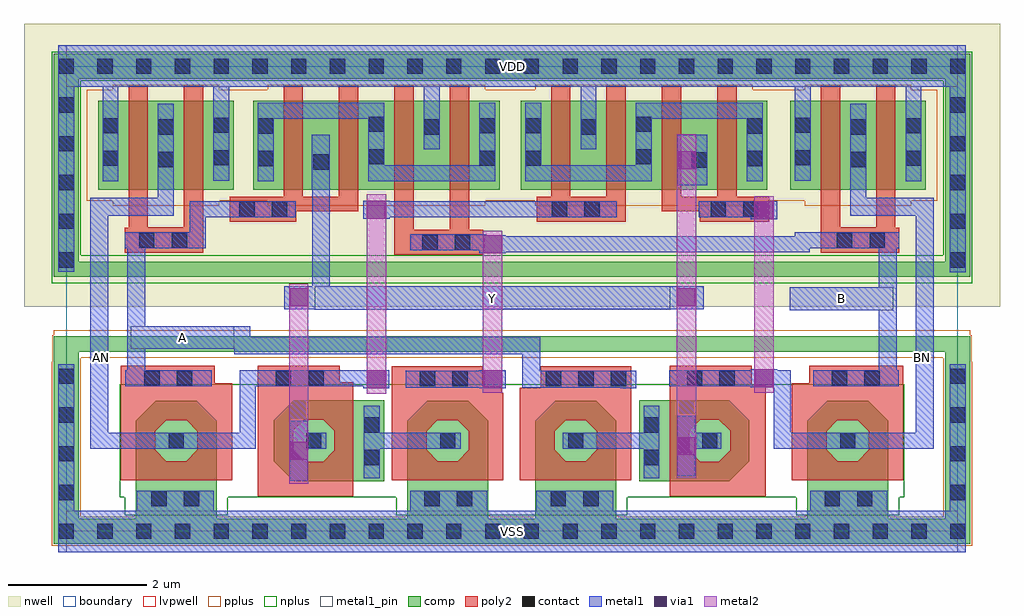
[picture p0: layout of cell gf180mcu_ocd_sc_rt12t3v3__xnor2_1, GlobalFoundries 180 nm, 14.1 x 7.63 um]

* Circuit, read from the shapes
.subckt gf180mcu_ocd_sc_rt12t3v3__xnor2_1 A AN B BN VDD VSS Y
XM1 AN A VSS VSS nfet_03v3 w=1.785u l=0.5305u
XM2 Y AN n1 VSS nfet_03v3 w=1.785u l=0.5347u
XM3 n1 B VSS VSS nfet_03v3 w=1.785u l=0.5395u
XM4 n2 A VSS VSS nfet_03v3 w=1.785u l=0.5325u
XM5 Y BN n2 VSS nfet_03v3 w=1.785u l=0.5341u
XM6 BN B VSS VSS nfet_03v3 w=1.785u l=0.5391u
XM7 AN A VDD VDD pfet_03v3 w=1.285u l=0.28u m=2
XM8 Y A n3 VDD pfet_03v3 w=1.285u l=0.28u m=2
XM9 VDD B n3 VDD pfet_03v3 w=1.285u l=0.28u m=2
XM10 VDD AN n4 VDD pfet_03v3 w=1.285u l=0.28u m=2
XM11 Y BN n4 VDD pfet_03v3 w=1.285u l=0.28u m=2
XM12 BN B VDD VDD pfet_03v3 w=1.285u l=0.28u m=2
.ends

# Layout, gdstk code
import gdstk
lib = gdstk.Library(unit=1e-6, precision=1e-09)
def R(c, l, rs):  # rectangles x0, y0, x1, y1
    for r in rs: c.add(gdstk.rectangle(r[:2], r[2:], *l))
def A(c, l, x, y, w, h, nx, ny, dx, dy):  # array of equal rectangles
    R(c, l, [(x+i*dx, y+j*dy, x+i*dx+w, y+j*dy+h) for i in range(nx) for j in range(ny)])
def P(c, l, *ps):  # polygons
    for p in ps: c.add(gdstk.Polygon(p, *l))
boundary = (0, 0)
nwell = (21, 0)
comp = (22, 0)
poly2 = (30, 0)
pplus = (31, 0)
nplus = (32, 0)
contact = (33, 0)
metal1 = (34, 0)
metal1_pin = (34, 10)
via1 = (35, 0)
metal2 = (36, 0)
lvpwell = (204, 0)

gf180mcu_ocd_sc_rt12t3v3 = lib.new_cell('gf180mcu_ocd_sc_rt12t3v3__xnor2_1')
R(gf180mcu_ocd_sc_rt12t3v3, boundary, [(0,0,12.88,6.72)])
R(gf180mcu_ocd_sc_rt12t3v3, nwell, [(-0.61,3.245,13.49,7.33)])
R(gf180mcu_ocd_sc_rt12t3v3, comp, [(-0.18,-0.18,13.06,0.18), (-0.18,0.18,0.18,2.595), (1.005,0.18,2.175,1.595), (4.925,0.18,6.095,1.595), (6.775,0.18,7.945,1.595), (10.705,0.18,11.875,1.595), (12.7,0.18,13.06,2.595), (3.29,0.725,4.595,1.015), (8.275,0.725,9.58,1.015), (3,1.015,4.595,1.605), (8.275,1.015,9.87,1.605), (1.295,1.595,1.885,1.885), (5.215,1.595,5.805,1.885), (6.785,1.595,7.655,1.605), (10.995,1.595,11.585,1.885), (3.28,1.605,4.595,1.885), (7.065,1.605,7.655,1.885), (8.275,1.605,9.58,1.895), (3.29,1.885,4.595,1.895), (-0.18,2.595,13.06,2.815), (-0.18,3.675,13.06,3.895), (-0.18,3.895,0.18,6.54), (12.7,3.895,13.06,6.54), (0.46,4.935,2.42,6.22), (2.7,4.935,6.26,6.22), (6.565,4.935,10.125,6.22), (10.46,4.935,12.42,6.22), (-0.18,6.54,13.06,6.9)])
P(gf180mcu_ocd_sc_rt12t3v3, comp, [(3.28,1.885),(3.29,1.885),(3.29,1.895)],
  [(1.005,1.595),(1.295,1.595),(1.295,1.885)],
  [(1.885,1.885),(1.885,1.595),(2.175,1.595)],
  [(3,1.605),(3.28,1.605),(3.28,1.885)],
  [(3,1.015),(3.29,1.015),(3.29,0.725)],
  [(4.925,1.595),(5.215,1.595),(5.215,1.885)],
  [(5.805,1.885),(5.805,1.595),(6.095,1.595)],
  [(6.785,1.605),(7.065,1.605),(7.065,1.885)],
  [(6.775,1.595),(6.785,1.595),(6.785,1.605)],
  [(7.655,1.885),(7.655,1.595),(7.945,1.595)],
  [(9.58,1.895),(9.58,1.605),(9.87,1.605)],
  [(9.58,0.725),(9.58,1.015),(9.87,1.015)],
  [(10.705,1.595),(10.995,1.595),(10.995,1.885)],
  [(11.585,1.885),(11.585,1.595),(11.875,1.595)])
A(gf180mcu_ocd_sc_rt12t3v3, poly2, 7.005, 4.835, 0.28, 1.605, 4, 1, 0.8, 0)
R(gf180mcu_ocd_sc_rt12t3v3, poly2, [(2.765,0.505,4.15,1.005), (8.72,0.505,10.105,1.005), (0.785,0.735,2.395,1.015), (4.705,0.735,6.315,1.015), (6.555,0.735,8.165,1.015), (10.485,0.735,12.095,1.015), (2.765,1.005,3.29,1.155), (3.86,1.005,4.15,1.155), (8.72,1.005,9,1.615), (9.58,1.005,10.105,1.155), (0.785,1.015,1.285,1.595), (1.895,1.015,2.395,1.595), (4.705,1.015,5.205,1.595), (5.815,1.015,6.315,1.595), (6.555,1.015,7.055,1.605), (7.665,1.015,8.165,1.595), (10.485,1.015,10.985,1.595), (11.595,1.015,12.095,1.595), (2.765,1.155,3.28,1.465), (3.87,1.155,4.15,1.465), (9.59,1.155,10.105,1.465), (2.765,1.465,3.29,1.615), (3.86,1.465,4.15,1.615), (9.58,1.465,10.105,1.615), (0.785,1.595,1.435,1.605), (1.745,1.595,2.395,1.605), (4.705,1.595,5.355,1.605), (5.665,1.595,6.315,1.605), (7.515,1.595,8.165,1.605), (10.485,1.595,11.135,1.605), (11.445,1.595,12.095,1.605), (0.785,1.605,2.395,2.14), (4.705,1.605,6.315,2), (6.555,1.605,8.165,2.075), (10.485,1.605,12.095,2.14), (2.765,1.615,4.15,2.15), (8.72,1.615,10.105,2.115), (4.705,2,6.285,2.095), (6.855,2.075,8.165,2.385), (4.705,2.095,6.015,2.385), (8.72,2.115,9.905,2.39), (0.785,2.14,2.145,2.39), (10.735,2.14,12.095,2.39), (2.765,2.15,3.95,2.39), (4.74,3.995,6.025,4.355), (0.845,4.025,1.98,4.385), (10.9,4.025,12.035,4.385), (4.74,4.355,5.02,6.44), (5.54,4.355,5.82,6.44), (0.9,4.385,1.98,4.39), (10.9,4.385,11.98,4.39), (0.9,4.39,1.18,6.44), (1.7,4.39,1.98,6.44), (10.9,4.39,11.18,6.44), (11.7,4.39,11.98,6.44), (2.365,4.475,3.325,4.625), (6.8,4.475,8.085,4.835), (9.15,4.475,10.16,4.625), (2.365,4.625,4.22,4.835), (8.605,4.625,10.16,4.835), (3.14,4.835,3.42,6.44), (3.94,4.835,4.22,6.44)])
P(gf180mcu_ocd_sc_rt12t3v3, poly2, [(1.435,1.595),(1.435,1.605),(1.445,1.605)],
  [(1.735,1.605),(1.745,1.605),(1.745,1.595)],
  [(1.285,1.445),(1.285,1.595),(1.435,1.595)],
  [(1.745,1.595),(1.895,1.595),(1.895,1.445)],
  [(1.285,1.175),(1.285,1.015),(1.445,1.015)],
  [(1.735,1.015),(1.895,1.015),(1.895,1.175)],
  [(3.29,1.465),(3.29,1.615),(3.44,1.615)],
  [(3.71,1.615),(3.86,1.615),(3.86,1.465)],
  [(3.28,1.455),(3.28,1.465),(3.29,1.465)],
  [(3.86,1.465),(3.87,1.465),(3.87,1.455)],
  [(3.28,1.165),(3.28,1.155),(3.29,1.155)],
  [(3.86,1.155),(3.87,1.155),(3.87,1.165)],
  [(3.29,1.155),(3.29,1.005),(3.44,1.005)],
  [(3.71,1.005),(3.86,1.005),(3.86,1.155)],
  [(5.355,1.595),(5.355,1.605),(5.365,1.605)],
  [(5.655,1.605),(5.665,1.605),(5.665,1.595)],
  [(5.205,1.445),(5.205,1.595),(5.355,1.595)],
  [(5.665,1.595),(5.815,1.595),(5.815,1.445)],
  [(5.205,1.175),(5.205,1.015),(5.365,1.015)],
  [(5.655,1.015),(5.815,1.015),(5.815,1.175)],
  [(7.055,1.445),(7.055,1.605),(7.215,1.605)],
  [(7.505,1.605),(7.515,1.605),(7.515,1.595)],
  [(7.515,1.595),(7.665,1.595),(7.665,1.445)],
  [(7.055,1.175),(7.055,1.015),(7.215,1.015)],
  [(7.505,1.015),(7.665,1.015),(7.665,1.175)],
  [(9,1.455),(9,1.615),(9.16,1.615)],
  [(9.43,1.615),(9.58,1.615),(9.58,1.465)],
  [(9.58,1.465),(9.59,1.465),(9.59,1.455)],
  [(9,1.165),(9,1.005),(9.16,1.005)],
  [(9.58,1.155),(9.59,1.155),(9.59,1.165)],
  [(9.43,1.005),(9.58,1.005),(9.58,1.155)],
  [(11.135,1.595),(11.135,1.605),(11.145,1.605)],
  [(11.435,1.605),(11.445,1.605),(11.445,1.595)],
  [(10.985,1.445),(10.985,1.595),(11.135,1.595)],
  [(11.445,1.595),(11.595,1.595),(11.595,1.445)],
  [(10.985,1.175),(10.985,1.015),(11.145,1.015)],
  [(11.435,1.015),(11.595,1.015),(11.595,1.175)])
R(gf180mcu_ocd_sc_rt12t3v3, pplus, [(-0.21,-0.21,13.09,0.21), (-0.21,0.21,0.21,2.45), (0.985,0.21,2.195,0.235), (4.905,0.21,6.115,0.235), (6.755,0.21,7.965,0.235), (10.685,0.21,11.895,0.235), (12.67,0.21,13.09,2.45), (-0.2,2.45,0.21,2.505), (12.67,2.45,13.08,2.505), (-0.2,2.505,13.08,2.835), (-0.18,2.835,13.06,2.905), (0.67,4.705,2.21,4.775), (2.91,4.705,6.05,4.775), (6.775,4.705,9.915,4.775), (10.67,4.705,12.21,4.775), (0.3,4.775,12.58,6.38), (0.67,6.38,2.21,6.45), (2.91,6.38,6.05,6.45), (6.775,6.38,9.915,6.45), (10.67,6.38,12.21,6.45)])
R(gf180mcu_ocd_sc_rt12t3v3, nplus, [(0.845,0.235,2.335,0.495), (4.765,0.235,8.105,0.495), (10.545,0.235,12.035,0.495), (0.775,0.495,12.105,2.125), (-0.21,3.585,13.09,3.985), (-0.21,3.985,0.21,6.51), (12.67,3.985,13.09,6.51), (-0.21,6.51,13.09,6.93)])
A(gf180mcu_ocd_sc_rt12t3v3, contact, -0.11, -0.11, 0.22, 0.22, 24, 2, 0.56, 6.72)
A(gf180mcu_ocd_sc_rt12t3v3, contact, -0.11, 0.45, 0.22, 0.22, 1, 4, 0, 0.56)
A(gf180mcu_ocd_sc_rt12t3v3, contact, 12.77, 0.45, 0.22, 0.22, 1, 4, 0, 0.56)
A(gf180mcu_ocd_sc_rt12t3v3, contact, 6.93, 2.095, 0.22, 0.22, 3, 1, 0.47, 0)
A(gf180mcu_ocd_sc_rt12t3v3, contact, -0.11, 3.81, 0.22, 0.22, 1, 5, 0, 0.56)
A(gf180mcu_ocd_sc_rt12t3v3, contact, 12.77, 3.81, 0.22, 0.22, 1, 5, 0, 0.56)
R(gf180mcu_ocd_sc_rt12t3v3, contact, [(1.23,0.36,1.45,0.58), (1.7,0.36,1.92,0.58), (5.175,0.36,5.395,0.58), (5.645,0.36,5.865,0.58), (7,0.36,7.22,0.58), (7.47,0.36,7.69,0.58), (10.955,0.36,11.175,0.58), (11.425,0.36,11.645,0.58), (4.305,0.955,4.525,1.175), (8.345,0.955,8.565,1.175), (1.48,1.2,1.7,1.42), (3.465,1.2,3.685,1.42), (5.4,1.2,5.62,1.42), (7.25,1.2,7.47,1.42), (9.185,1.2,9.405,1.42), (11.18,1.2,11.4,1.42), (4.305,1.425,4.525,1.645), (8.345,1.425,8.565,1.645), (5.11,2.095,5.33,2.315), (5.58,2.095,5.8,2.315), (1.13,2.1,1.35,2.32), (1.6,2.1,1.82,2.32), (3.03,2.1,3.25,2.32), (3.5,2.1,3.72,2.32), (8.965,2.1,9.185,2.32), (9.435,2.1,9.655,2.32), (11.06,2.1,11.28,2.32), (11.53,2.1,11.75,2.32), (5.145,4.065,5.365,4.285), (5.615,4.065,5.835,4.285), (1.055,4.095,1.275,4.315), (1.525,4.095,1.745,4.315), (11.135,4.095,11.355,4.315), (11.605,4.095,11.825,4.315), (2.5,4.545,2.72,4.765), (2.97,4.545,3.19,4.765), (7.015,4.545,7.235,4.765), (7.485,4.545,7.705,4.765), (9.31,4.545,9.53,4.765), (9.78,4.545,10,4.765), (3.57,5.225,3.79,5.445), (9.035,5.255,9.255,5.475), (1.33,5.26,1.55,5.48), (11.33,5.26,11.55,5.48), (2.77,5.275,2.99,5.495), (9.835,5.275,10.055,5.495), (0.53,5.28,0.75,5.5), (5.97,5.28,6.19,5.5), (6.635,5.28,6.855,5.5), (12.13,5.28,12.35,5.5), (2.13,5.285,2.35,5.505), (10.53,5.285,10.75,5.505), (4.37,5.3,4.59,5.52), (8.235,5.3,8.455,5.52), (1.33,5.73,1.55,5.95), (5.17,5.73,5.39,5.95), (7.435,5.73,7.655,5.95), (11.33,5.73,11.55,5.95), (2.77,5.745,2.99,5.965), (9.835,5.745,10.055,5.965), (0.53,5.75,0.75,5.97), (5.97,5.75,6.19,5.97), (6.635,5.75,6.855,5.97), (12.13,5.75,12.35,5.97), (2.13,5.755,2.35,5.975), (10.53,5.755,10.75,5.975), (4.37,5.77,4.59,5.99), (8.235,5.77,8.455,5.99)])
R(gf180mcu_ocd_sc_rt12t3v3, metal1, [(-0.115,-0.3,12.995,0.3), (-0.115,0.3,0.115,2.41), (1.02,0.3,2.13,0.585), (4.97,0.3,6.08,0.585), (6.79,0.3,7.9,0.585), (10.75,0.3,11.86,0.585), (12.765,0.3,12.995,2.41), (3.23,0.73,3.49,1.195), (4.3,0.77,4.53,1.195), (8.34,0.77,8.57,1.195), (8.83,0.8,9.09,1.195), (0.345,1.195,2.74,1.425), (3.23,1.195,3.76,1.425), (4.3,1.195,5.7,1.425), (7.17,1.195,8.57,1.425), (8.83,1.195,9.465,1.425), (10.22,1.195,12.535,1.425), (0.345,1.425,0.605,4.56), (2.51,1.425,2.74,2.095), (3.23,1.425,3.49,1.6), (4.3,1.425,4.53,1.815), (8.34,1.425,8.57,1.815), (8.83,1.425,9.09,1.67), (10.22,1.425,10.465,2.08), (12.275,1.425,12.535,4.56), (4.29,2.065,4.67,2.095), (5.97,2.065,6.35,2.075), (8.005,2.07,8.235,2.075), (4.905,2.075,6.35,2.32), (6.59,2.075,8.235,2.32), (9.89,2.08,10.465,2.095), (0.85,2.095,2.105,2.325), (2.51,2.095,4.67,2.325), (8.71,2.095,10.465,2.325), (10.79,2.095,12.03,2.325), (5.97,2.32,6.35,2.325), (6.59,2.32,6.845,2.555), (0.88,2.325,1.14,2.635), (9.89,2.325,10.465,2.33), (11.74,2.325,12,3.195), (9.89,2.33,10.27,2.34), (2.43,2.555,6.845,2.635), (0.88,2.635,6.845,2.81), (0.88,2.81,2.66,2.965), (0.88,2.965,1.14,4.09), (10.45,3.195,12,3.525), (3.59,3.2,6.03,3.205), (3.15,3.205,9.21,3.54), (11.74,3.525,12,4.09), (3.555,3.54,3.81,4.945), (12.765,3.745,12.995,6.42), (-0.115,3.75,0.115,6.42), (5.97,4.02,6.35,4.035), (5.97,4.035,10.745,4.06), (4.97,4.06,10.745,4.09), (0.845,4.09,2.015,4.32), (4.97,4.09,12.035,4.265), (4.97,4.265,6.35,4.28), (10.525,4.265,12.035,4.32), (4.97,4.28,6.07,4.29), (1.785,4.32,2.015,4.54), (9.89,4.51,10.27,4.54), (4.29,4.515,4.675,4.54), (1.785,4.54,3.315,4.77), (4.29,4.54,7.95,4.77), (9.135,4.54,10.27,4.77), (0.345,4.56,1.555,4.82), (11.325,4.56,12.535,4.82), (4.29,4.77,4.675,4.775), (1.325,4.82,1.555,6.18), (11.325,4.82,11.555,6.18), (3.55,4.945,3.81,5.73), (8.83,5,9.26,5.73), (2.765,5.055,2.995,5.96), (9.83,5.055,10.06,5.96), (0.525,5.06,0.755,6.42), (4.365,5.06,6.195,5.29), (6.63,5.06,8.46,5.29), (12.125,5.06,12.355,6.42), (2.125,5.065,2.355,6.42), (10.525,5.065,10.755,6.42), (4.365,5.29,4.595,5.96), (5.965,5.29,6.195,6.19), (6.63,5.29,6.86,6.19), (8.23,5.29,8.46,5.96), (5.165,5.52,5.395,6.42), (7.43,5.52,7.66,6.42), (2.765,5.96,4.595,6.19), (8.23,5.96,10.06,6.19), (-0.115,6.42,12.995,7.02)])
R(gf180mcu_ocd_sc_rt12t3v3, metal1_pin, [(0,-0.3,12.88,0.3), (0.93,2.635,2.43,2.965), (10.45,3.195,11.95,3.525), (3.59,3.2,8.725,3.54), (0,6.42,12.88,7.02)])
R(gf180mcu_ocd_sc_rt12t3v3, via1, [(3.23,1.035,3.49,1.295), (8.83,1.1,9.09,1.36), (4.35,2.065,4.61,2.325), (6.03,2.065,6.29,2.325), (9.95,2.08,10.21,2.34), (3.23,3.255,3.49,3.515), (8.83,3.255,9.09,3.515), (6.03,4.02,6.29,4.28), (9.95,4.51,10.21,4.77), (4.35,4.515,4.61,4.775), (8.83,5.23,9.09,5.49)])
R(gf180mcu_ocd_sc_rt12t3v3, metal2, [(3.22,0.69,3.5,3.575), (8.82,0.77,9.1,5.735), (4.34,1.99,4.62,4.87), (9.94,2,10.22,4.84), (6.02,2.005,6.3,4.34)])
R(gf180mcu_ocd_sc_rt12t3v3, lvpwell, [(-0.18,-0.18,13.06,2.815)])
gf180mcu_ocd_sc_rt12t3v3.add(gdstk.Label('BN', (12.375,2.51), layer=34, texttype=0))
gf180mcu_ocd_sc_rt12t3v3.add(gdstk.Label('AN', (0.505,2.51), layer=34, texttype=0))
gf180mcu_ocd_sc_rt12t3v3.add(gdstk.Label('A', (1.68,2.8), layer=34, texttype=10))
gf180mcu_ocd_sc_rt12t3v3.add(gdstk.Label('B', (11.2,3.36), layer=34, texttype=10))
gf180mcu_ocd_sc_rt12t3v3.add(gdstk.Label('Y', (6.157,3.37), layer=34, texttype=10))
gf180mcu_ocd_sc_rt12t3v3.add(gdstk.Label('VDD', (6.44,6.72), layer=34, texttype=10))
gf180mcu_ocd_sc_rt12t3v3.add(gdstk.Label('VSS', (6.44,0), layer=34, texttype=10))

lib.write_gds('gf180mcu_ocd_sc_rt12t3v3__xnor2_1.gds')
